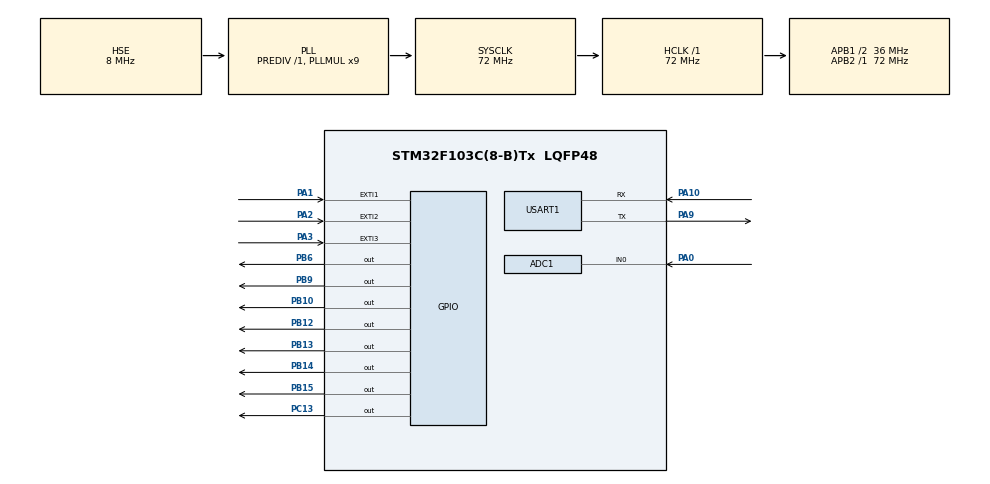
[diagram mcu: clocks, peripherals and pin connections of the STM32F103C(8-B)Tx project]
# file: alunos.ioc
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ADC1.Channel-0\#ChannelRegularConversion=ADC_CHANNEL_0
ADC1.NbrOfConversionFlag=1
ADC1.Rank-0\#ChannelRegularConversion=1
ADC1.SamplingTime-0\#ChannelRegularConversion=ADC_SAMPLETIME_1CYCLE_5
ADC1.master=1
Mcu.Family=STM32F1
Mcu.Name=STM32F103C(8-B)Tx
Mcu.Package=LQFP48
NVIC.ADC1_2_IRQn=true\:0\:0\:false\:false\:true\:true\:true\:true
NVIC.EXTI1_IRQn=true\:0\:0\:false\:true\:true\:1\:true\:true\:true
NVIC.EXTI2_IRQn=true\:0\:0\:false\:true\:true\:2\:true\:true\:true
NVIC.EXTI3_IRQn=true\:0\:0\:false\:true\:true\:4\:true\:true\:true
NVIC.PriorityGroup=NVIC_PRIORITYGROUP_4
NVIC.USART1_IRQn=true\:0\:0\:false\:true\:true\:3\:true\:true\:true
PA0-WKUP.Signal=ADCx_IN0
PA1.GPIO_ModeDefaultEXTI=GPIO_MODE_IT_FALLING
PA1.Signal=GPXTI1
PA10.Mode=Asynchronous
PA10.Signal=USART1_RX
PA13.Mode=Serial_Wire
PA13.Signal=SYS_JTMS-SWDIO
PA14.Mode=Serial_Wire
PA14.Signal=SYS_JTCK-SWCLK
PA2.GPIO_ModeDefaultEXTI=GPIO_MODE_IT_FALLING
PA2.Signal=GPXTI2
PA3.GPIO_ModeDefaultEXTI=GPIO_MODE_IT_FALLING
PA3.Signal=GPXTI3
PA9.Mode=Asynchronous
PA9.Signal=USART1_TX
PB10.Signal=GPIO_Output
PB12.Signal=GPIO_Output
PB13.Signal=GPIO_Output
PB14.Signal=GPIO_Output
PB15.Signal=GPIO_Output
PB6.Signal=GPIO_Output
PB9.Signal=GPIO_Output
PC13-TAMPER-RTC.Signal=GPIO_Output
PD0-OSC_IN.Mode=HSE-External-Oscillator
PD0-OSC_IN.Signal=RCC_OSC_IN
PD1-OSC_OUT.Mode=HSE-External-Oscillator
PD1-OSC_OUT.Signal=RCC_OSC_OUT
ProjectManager.HeapSize=0x200
ProjectManager.StackSize=0x400
ProjectManager.TargetToolchain=STM32CubeIDE
RCC.ADCPresc=RCC_ADCPCLK2_DIV6
RCC.AHBFreq_Value=72000000
RCC.APB1CLKDivider=RCC_HCLK_DIV2
RCC.APB1Freq_Value=36000000
RCC.APB1TimFreq_Value=72000000
RCC.APB2Freq_Value=72000000
RCC.APB2TimFreq_Value=72000000
RCC.HCLKFreq_Value=72000000
RCC.PLLMUL=RCC_PLL_MUL9
RCC.PLLSourceVirtual=RCC_PLLSOURCE_HSE
RCC.SYSCLKFreq_VALUE=72000000
RCC.SYSCLKSource=RCC_SYSCLKSOURCE_PLLCLK
RCC.USBFreq_Value=72000000
SH.ADCx_IN0.0=ADC1_IN0,IN0
USART1.VirtualMode=VM_ASYNC
board=custom

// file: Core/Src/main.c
/* USER CODE BEGIN Header */
/**
  ******************************************************************************
  * @file           : main.c
  * @brief          : Main program body
  ******************************************************************************
  * @attention
  *
  * Copyright (c) 2024 STMicroelectronics.
  * All rights reserved.
  *
  * This software is licensed under terms that can be found in the LICENSE file
  * in the root directory of this software component.
  * If no LICENSE file comes with this software, it is provided AS-IS.
  *
  ******************************************************************************
  */
/* USER CODE END Header */
#include "main.h"

/* USER CODE BEGIN Includes */
#include "funcoes_SPI_display.h"
#include "stm32f1xx_it.h"
/* USER CODE END Includes */

/* USER CODE BEGIN PD */
#define DT_VARRE  5
#define DIGITO_APAGADO 0x10
/* USER CODE END PD */

ADC_HandleTypeDef hadc1;

UART_HandleTypeDef huart1;

/* USER CODE BEGIN PV */
int8_t DspHex[] = {16,16,16,16};
/* USER CODE END PV */

void SystemClock_Config(void);
static void MX_GPIO_Init(void);
static void MX_ADC1_Init(void);
static void MX_USART1_UART_Init(void);
static void MX_NVIC_Init(void);
/* USER CODE BEGIN PFP */
void update_display(int8_t values[]);
/* USER CODE END PFP */

/* USER CODE BEGIN 0 */
int8_t ValAdc[] = {0,0,0,0};
int8_t ValTime[] = {0,0,0,0};
int8_t BufOUT[4];
int8_t BufIN[4];
size_t sizeBuffs = sizeof(BufOUT);
int state_machine = 0;
int fPend = 0;

/* USER CODE END 0 */

int main(void)
{

  /* USER CODE BEGIN 1 */
  //uint16_t val7seg = 0x00FF, decPoint = 0x7FFF, serial_data = 0x01FF;
  uint32_t tNow = 0, tIN_varre = 0;
  /* USER CODE END 1 */

  /* MCU Configuration--------------------------------------------------------*/

  /* Reset of all peripherals, Initializes the Flash interface and the Systick. */
  HAL_Init();

  /* Configure the system clock */
  SystemClock_Config();

  /* Initialize all configured peripherals */
  MX_GPIO_Init();
  MX_ADC1_Init();
  MX_USART1_UART_Init();

  /* Initialize interrupts */
  MX_NVIC_Init();
  /* USER CODE BEGIN 2 */

  reset_pinos_emula_SPI ();
  HAL_UART_Receive_IT(&huart1, BufIN, sizeBuffs);
  //static enum {DIG_UNI, DIG_DECS, DIG_CENS, DIG_MILS} sttVARRE=DIG_MILS;
  //
  /* USER CODE END 2 */

  /* Infinite loop */
  while (1)
  {

    /* USER CODE BEGIN 3 */

    tNow = HAL_GetTick();
    state_machine = get_state();
    HAL_ADC_Start_IT(&hadc1);

    if ((tNow - tIN_varre) > DT_VARRE) {
      if (state_machine == 0) {
        update_display(ValAdc);
      } else if (state_machine == 1) {
        time_update_values();
        update_display(ValTime);
      }

      if ((state_machine == 2 || state_machine == 3) && (HAL_UART_GetState(&huart1) != HAL_UART_STATE_BUSY_TX)){
        if (state_machine == 2) {
          HAL_ADC_Start_IT(&hadc1);
          BufOUT[0] = 'a';
          BufOUT[1] = ValAdc[3];
          BufOUT[2] = ValAdc[2];
          BufOUT[3] = ValAdc[1];
          BufOUT[4] = ValAdc[0];
        }

        if (state_machine == 3) {
          time_update_values();
          BufOUT[0] = 'c';
          BufOUT[1] = ValTime[3];
          BufOUT[2] = ValTime[2];
          BufOUT[3] = ValTime[1];
          BufOUT[4] = ValTime[0];
        }

        HAL_UART_Transmit_IT(&huart1, BufOUT, sizeBuffs);
      }

      tIN_varre = tNow;
    }

  }

  /* USER CODE END 3 */
}

void SystemClock_Config(void)
{
  RCC_OscInitTypeDef RCC_OscInitStruct = {0};
  RCC_ClkInitTypeDef RCC_ClkInitStruct = {0};
  RCC_PeriphCLKInitTypeDef PeriphClkInit = {0};

  /** Initializes the RCC Oscillators according to the specified parameters
  * in the RCC_OscInitTypeDef structure.
  */
  RCC_OscInitStruct.OscillatorType = RCC_OSCILLATORTYPE_HSE;
  RCC_OscInitStruct.HSEState = RCC_HSE_ON;
  RCC_OscInitStruct.HSEPredivValue = RCC_HSE_PREDIV_DIV1;
  RCC_OscInitStruct.HSIState = RCC_HSI_ON;
  RCC_OscInitStruct.PLL.PLLState = RCC_PLL_ON;
  RCC_OscInitStruct.PLL.PLLSource = RCC_PLLSOURCE_HSE;
  RCC_OscInitStruct.PLL.PLLMUL = RCC_PLL_MUL9;
  if (HAL_RCC_OscConfig(&RCC_OscInitStruct) != HAL_OK)
  {
    Error_Handler();
  }

  /** Initializes the CPU, AHB and APB buses clocks
  */
  RCC_ClkInitStruct.ClockType = RCC_CLOCKTYPE_HCLK|RCC_CLOCKTYPE_SYSCLK
    |RCC_CLOCKTYPE_PCLK1|RCC_CLOCKTYPE_PCLK2;
  RCC_ClkInitStruct.SYSCLKSource = RCC_SYSCLKSOURCE_PLLCLK;
  RCC_ClkInitStruct.AHBCLKDivider = RCC_SYSCLK_DIV1;
  RCC_ClkInitStruct.APB1CLKDivider = RCC_HCLK_DIV2;
  RCC_ClkInitStruct.APB2CLKDivider = RCC_HCLK_DIV1;

  if (HAL_RCC_ClockConfig(&RCC_ClkInitStruct, FLASH_LATENCY_2) != HAL_OK)
  {
    Error_Handler();
  }
  PeriphClkInit.PeriphClockSelection = RCC_PERIPHCLK_ADC;
  PeriphClkInit.AdcClockSelection = RCC_ADCPCLK2_DIV6;
  if (HAL_RCCEx_PeriphCLKConfig(&PeriphClkInit) != HAL_OK)
  {
    Error_Handler();
  }
}

/**
  * @brief NVIC Configuration.
  * @retval None
  */
static void MX_NVIC_Init(void)
{
  /* EXTI1_IRQn interrupt configuration */
  HAL_NVIC_SetPriority(EXTI1_IRQn, 0, 0);
  HAL_NVIC_EnableIRQ(EXTI1_IRQn);
  /* EXTI2_IRQn interrupt configuration */
  HAL_NVIC_SetPriority(EXTI2_IRQn, 0, 0);
  HAL_NVIC_EnableIRQ(EXTI2_IRQn);
  /* USART1_IRQn interrupt configuration */
  HAL_NVIC_SetPriority(USART1_IRQn, 0, 0);
  HAL_NVIC_EnableIRQ(USART1_IRQn);
  /* EXTI3_IRQn interrupt configuration */
  HAL_NVIC_SetPriority(EXTI3_IRQn, 0, 0);
  HAL_NVIC_EnableIRQ(EXTI3_IRQn);
}

static void MX_ADC1_Init(void)
{

  ADC_ChannelConfTypeDef sConfig = {0};

  /** Common config
  */
  hadc1.Instance = ADC1;
  hadc1.Init.ScanConvMode = ADC_SCAN_DISABLE;
  hadc1.Init.ContinuousConvMode = DISABLE;
  hadc1.Init.DiscontinuousConvMode = DISABLE;
  hadc1.Init.ExternalTrigConv = ADC_SOFTWARE_START;
  hadc1.Init.DataAlign = ADC_DATAALIGN_RIGHT;
  hadc1.Init.NbrOfConversion = 1;
  if (HAL_ADC_Init(&hadc1) != HAL_OK)
  {
    Error_Handler();
  }

  /** Configure Regular Channel
  */
  sConfig.Channel = ADC_CHANNEL_0;
  sConfig.Rank = ADC_REGULAR_RANK_1;
  sConfig.SamplingTime = ADC_SAMPLETIME_1CYCLE_5;
  if (HAL_ADC_ConfigChannel(&hadc1, &sConfig) != HAL_OK)
  {
    Error_Handler();
  }

}

static void MX_USART1_UART_Init(void)
{

  huart1.Instance = USART1;
  huart1.Init.BaudRate = 115200;
  huart1.Init.WordLength = UART_WORDLENGTH_8B;
  huart1.Init.StopBits = UART_STOPBITS_1;
  huart1.Init.Parity = UART_PARITY_NONE;
  huart1.Init.Mode = UART_MODE_TX_RX;
  huart1.Init.HwFlowCtl = UART_HWCONTROL_NONE;
  huart1.Init.OverSampling = UART_OVERSAMPLING_16;
  if (HAL_UART_Init(&huart1) != HAL_OK)
  {
    Error_Handler();
  }

}

static void MX_GPIO_Init(void)
{
  GPIO_InitTypeDef GPIO_InitStruct = {0};

  /* GPIO Ports Clock Enable */
  __HAL_RCC_GPIOC_CLK_ENABLE();
  __HAL_RCC_GPIOD_CLK_ENABLE();
  __HAL_RCC_GPIOA_CLK_ENABLE();
  __HAL_RCC_GPIOB_CLK_ENABLE();

  /*Configure GPIO pin Output Level */
  HAL_GPIO_WritePin(GPIOC, GPIO_PIN_13, GPIO_PIN_RESET);

  /*Configure GPIO pin Output Level */
  HAL_GPIO_WritePin(GPIOB, GPIO_PIN_10|GPIO_PIN_12|GPIO_PIN_13|GPIO_PIN_14
                    |GPIO_PIN_15|GPIO_PIN_6|GPIO_PIN_9, GPIO_PIN_RESET);

  /*Configure GPIO pin : PC13 */
  GPIO_InitStruct.Pin = GPIO_PIN_13;
  GPIO_InitStruct.Mode = GPIO_MODE_OUTPUT_PP;
  GPIO_InitStruct.Pull = GPIO_NOPULL;
  GPIO_InitStruct.Speed = GPIO_SPEED_FREQ_LOW;
  HAL_GPIO_Init(GPIOC, &GPIO_InitStruct);

  /*Configure GPIO pins : PA1 PA2 PA3 */
  GPIO_InitStruct.Pin = GPIO_PIN_1|GPIO_PIN_2|GPIO_PIN_3;
  GPIO_InitStruct.Mode = GPIO_MODE_IT_FALLING;
  GPIO_InitStruct.Pull = GPIO_NOPULL;
  HAL_GPIO_Init(GPIOA, &GPIO_InitStruct);

  /*Configure GPIO pins : PB10 PB12 PB13 PB14
                           PB15 PB6 PB9 */
  GPIO_InitStruct.Pin = GPIO_PIN_10|GPIO_PIN_12|GPIO_PIN_13|GPIO_PIN_14
    |GPIO_PIN_15|GPIO_PIN_6|GPIO_PIN_9;
  GPIO_InitStruct.Mode = GPIO_MODE_OUTPUT_PP;
  GPIO_InitStruct.Pull = GPIO_NOPULL;
  GPIO_InitStruct.Speed = GPIO_SPEED_FREQ_LOW;
  HAL_GPIO_Init(GPIOB, &GPIO_InitStruct);

}

/* USER CODE BEGIN 4 */
void update_display(int8_t values[])
{
  static enum {DIG_UNI, DIG_DECS, DIG_CENS, DIG_MILS} sttVARRE = DIG_MILS;
  uint16_t val7seg = 0x00FF, decPoint = 0x7FFF, serial_data = 0x01FF;

  switch (sttVARRE) {
    case DIG_MILS:
      sttVARRE = DIG_CENS;
      serial_data = 0x0008;
      if (state_machine == 0 || state_machine == 2) {
        // ADC mode - display thousands
        val7seg = conv_7_seg(values[0]);
      }
      else if (state_machine == 1) {
        // Time mode - display thousands
        val7seg = conv_7_seg(values[0]);
      }
      else {
        // Future states can be added here
        val7seg = conv_7_seg(values[0]);
      }
      break;

    case DIG_CENS:
      sttVARRE = DIG_DECS;
      serial_data = 0x0004;

      if (state_machine == 0 || state_machine == 2) {
        // ADC mode - display hundreds
        if (values[1] > 0 || values[2] > 0 || values[3] > 0) {
          val7seg = conv_7_seg(values[1]);
        }
        else {
          val7seg = conv_7_seg(DIGITO_APAGADO);
        }
      }
      else if (state_machine == 1 || state_machine == 3) {
        // Time mode - display hundreds with decimal point
        if (values[1] > 0 || values[2] > 0 || values[3] > 0) {
          val7seg = conv_7_seg(values[1]);
          val7seg &= decPoint;  // Add decimal point for time display
        }
        else {
          val7seg = conv_7_seg(DIGITO_APAGADO);
        }
      }
      else {
        // Future states - default behavior (no decimal point)
        if (values[1] > 0 || values[2] > 0 || values[3] > 0) {
          val7seg = conv_7_seg(values[1]);
        }
        else {
          val7seg = conv_7_seg(DIGITO_APAGADO);
        }
      }
      break;

    case DIG_DECS:
      sttVARRE = DIG_UNI;
      serial_data = 0x0002;

      if (state_machine == 0 || state_machine == 2) {
        // ADC mode - display tens
        if (values[2] > 0 || values[3] > 0) {
          val7seg = conv_7_seg(values[2]);
        }
        else {
          val7seg = conv_7_seg(DIGITO_APAGADO);
        }
      }
      else if (state_machine == 1 || state_machine == 3) {
        // Time mode - display tens
        if (values[2] > 0 || values[3] > 0) {
          val7seg = conv_7_seg(values[2]);
        }
        else {
          val7seg = conv_7_seg(DIGITO_APAGADO);
        }
      }
      else {
        // Future states
        if (values[2] > 0 || values[3] > 0) {
          val7seg = conv_7_seg(values[2]);
        }
        else {
          val7seg = conv_7_seg(DIGITO_APAGADO);
        }
      }
      break;

    case DIG_UNI:
      sttVARRE = DIG_MILS;
      serial_data = 0x0001;

      if (state_machine == 0 || state_machine == 2) {
        // ADC mode - display units with decimal point
        if (values[3] > 0) {
          val7seg = conv_7_seg(values[3]);
          val7seg &= decPoint;
        }
        else {
          val7seg = conv_7_seg(DIGITO_APAGADO);
        }
      }
      else if (state_machine == 1 || state_machine == 3) {
        // Time mode - display units with decimal point
        if (values[3] > 0) {
          val7seg = conv_7_seg(values[3]);
          val7seg &= decPoint;
        }
        else {
          val7seg = conv_7_seg(DIGITO_APAGADO);
        }
      }
      else {
        // Future states - default with decimal point
        if (values[3] > 0) {
          val7seg = conv_7_seg(values[3]);
          val7seg &= decPoint;
        }
        else {
          val7seg = conv_7_seg(DIGITO_APAGADO);
        }
      }
      break;
  }

  serial_data |= val7seg;
  serializar(serial_data);
}

void time_update_values()
{
  uint32_t time_now;
  uint16_t sec1, sec2, min, cent, total_sec;
  if(1) {
    time_now = HAL_GetTick();
    total_sec = time_now / 1000;
    min = total_sec / 60;
    sec1 = ((total_sec - (60*min))/10);
    sec2 = total_sec % 10;
    cent = (time_now % 1000) / 100;
    ValTime[3] = min;
    ValTime[2] = sec1;
    ValTime[1] = sec2;
    ValTime[0] = cent;
  }
  set_stt_ADC(0);
}

void HAL_UART_RxCpltCallback(UART_HandleTypeDef *huart)
{
  int8_t input_buffer[] = {0,0,0,0};
  char send_crono[] = {'r','q','C','R','N'};
  char send_adc[] = {'r','q','A','D','C'};

  HAL_UART_Receive_IT(&huart1, BufIN, sizeBuffs);
  DspHex[0] = conv_ASC_num(BufIN[0]);
  DspHex[1] = conv_ASC_num(BufIN[1]);
  DspHex[2] = conv_ASC_num(BufIN[2]);
  DspHex[3] = conv_ASC_num(BufIN[3]);
  DspHex[4] = conv_ASC_num(BufIN[4]);

  int crono = 0;
  int adc = 0;
  for (int i=0;i<4;i++){
    if (DspHex[i] != send_crono[i]){
      crono = 1;
    }
    if (DspHex[i] != send_adc[i]){
      adc = 1;
    }
  }

  if (!adc) {
    // ADC
    HAL_UART_Receive_IT(&huart1, BufIN, sizeBuffs);
    DspHex[0] = conv_ASC_num(BufIN[0]);
    DspHex[1] = conv_ASC_num(BufIN[1]);
    DspHex[2] = conv_ASC_num(BufIN[2]);
    DspHex[3] = conv_ASC_num(BufIN[3]);
    DspHex[4] = conv_ASC_num(BufIN[4]);

    input_buffer[0] = DspHex[0];
    input_buffer[1] = DspHex[1];
    input_buffer[2] = DspHex[2];
    input_buffer[3] = DspHex[3];
    update_display(input_buffer);
  }

  if (!crono) {
    // CRONOMETRO
    HAL_UART_Receive_IT(&huart1, BufIN, sizeBuffs);
    DspHex[0] = conv_ASC_num(BufIN[0]);
    DspHex[1] = conv_ASC_num(BufIN[1]);
    DspHex[2] = conv_ASC_num(BufIN[2]);
    DspHex[3] = conv_ASC_num(BufIN[3]);
    DspHex[4] = conv_ASC_num(BufIN[4]);

    input_buffer[0] = DspHex[0];
    input_buffer[1] = DspHex[1];
    input_buffer[2] = DspHex[2];
    input_buffer[3] = DspHex[3];
    update_display(input_buffer);
  }
}

void HAL_ADC_ConvCpltCallback(ADC_HandleTypeDef* hadc)
{
  uint16_t val_adc = 0;
  if(hadc->Instance == ADC1) {
    val_adc = HAL_ADC_GetValue(&hadc1);
    int mVolt = val_adc*3300/4095;
    ValAdc[3] = mVolt/1000;
    ValAdc[2] = (mVolt%1000)/100;
    ValAdc[1] = (mVolt%100)/10;
    ValAdc[0] = mVolt%10;
    if (mVolt > 2000) {
      HAL_GPIO_WritePin(GPIOB, GPIO_PIN_5, GPIO_PIN_RESET);
    }
    else {
      HAL_GPIO_WritePin(GPIOB, GPIO_PIN_5, GPIO_PIN_SET);
    }
  }
  set_stt_ADC(0);
}
/* USER CODE END 4 */

void Error_Handler(void)
{
  __disable_irq();
  while (1)
  {
  }
}
